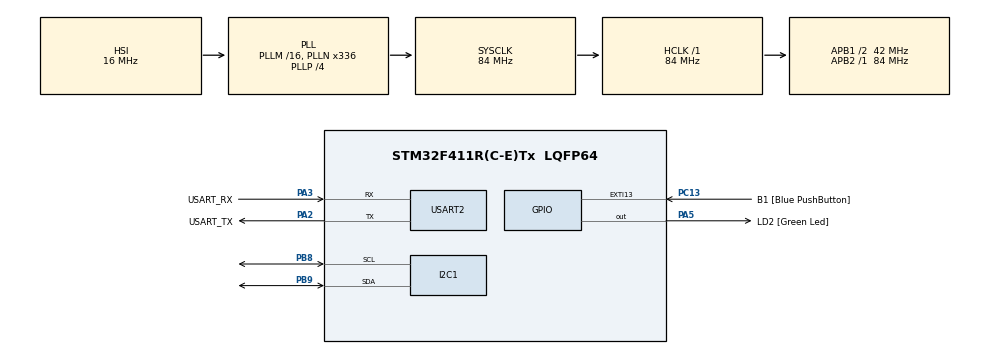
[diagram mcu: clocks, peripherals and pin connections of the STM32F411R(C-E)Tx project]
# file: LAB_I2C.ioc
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I2C1.I2C_Mode=I2C_Fast
Mcu.Family=STM32F4
Mcu.Name=STM32F411R(C-E)Tx
Mcu.Package=LQFP64
NVIC.I2C1_ER_IRQn=true\:0\:0\:false\:false\:true\:true\:true
NVIC.I2C1_EV_IRQn=true\:0\:0\:false\:false\:true\:true\:true
NVIC.PriorityGroup=NVIC_PRIORITYGROUP_0
PA13.GPIO_Label=TMS
PA13.Mode=Serial_Wire
PA13.Signal=SYS_JTMS-SWDIO
PA14.GPIO_Label=TCK
PA14.Mode=Serial_Wire
PA14.Signal=SYS_JTCK-SWCLK
PA2.GPIO_Label=USART_TX
PA2.Mode=Asynchronous
PA2.Signal=USART2_TX
PA3.GPIO_Label=USART_RX
PA3.Mode=Asynchronous
PA3.Signal=USART2_RX
PA5.GPIO_Label=LD2 [Green Led]
PA5.Signal=GPIO_Output
PB3.GPIO_Label=SWO
PB3.Signal=SYS_JTDO-SWO
PB8.Mode=I2C
PB8.Signal=I2C1_SCL
PB9.Mode=I2C
PB9.Signal=I2C1_SDA
PC13-ANTI_TAMP.GPIO_Label=B1 [Blue PushButton]
PC13-ANTI_TAMP.GPIO_ModeDefaultEXTI=GPIO_MODE_IT_FALLING
PC13-ANTI_TAMP.Signal=GPXTI13
PC14-OSC32_IN.Mode=LSE-External-Oscillator
PC14-OSC32_IN.Signal=RCC_OSC32_IN
PC15-OSC32_OUT.Mode=LSE-External-Oscillator
PC15-OSC32_OUT.Signal=RCC_OSC32_OUT
PH0\ -\ OSC_IN.Mode=HSE-External-Clock-Source
PH0\ -\ OSC_IN.Signal=RCC_OSC_IN
PH1\ -\ OSC_OUT.Mode=HSE-External-Clock-Source
PH1\ -\ OSC_OUT.Signal=RCC_OSC_OUT
ProjectManager.HeapSize=0x200
ProjectManager.StackSize=0x400
ProjectManager.TargetToolchain=STM32CubeIDE
RCC.48MHZClocksFreq_Value=84000000
RCC.AHBFreq_Value=84000000
RCC.APB1CLKDivider=RCC_HCLK_DIV2
RCC.APB1Freq_Value=42000000
RCC.APB1TimFreq_Value=84000000
RCC.APB2Freq_Value=84000000
RCC.APB2TimFreq_Value=84000000
RCC.CortexFreq_Value=84000000
RCC.FLatency-AdvancedSettings=FLASH_LATENCY_2
RCC.HCLKFreq_Value=84000000
RCC.HSE_VALUE=8000000
RCC.HSI_VALUE=16000000
RCC.PLLN=336
RCC.PLLP=RCC_PLLP_DIV4
RCC.SYSCLKFreq_VALUE=84000000
RCC.SYSCLKSource=RCC_SYSCLKSOURCE_PLLCLK
RCC.VCOOutputFreq_Value=336000000
USART2.VirtualMode=VM_ASYNC
board=NUCLEO-F411RE

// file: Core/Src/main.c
/* USER CODE BEGIN Header */
/**
 ******************************************************************************
 * @file           : main.c
 * @brief          : Main program body
 ******************************************************************************
 * @attention
 *
 * <h2><center>&copy; Copyright (c) 2021 STMicroelectronics.
 * All rights reserved.</center></h2>
 *
 * This software component is licensed by ST under BSD 3-Clause license,
 * the "License"; You may not use this file except in compliance with the
 * License. You may obtain a copy of the License at:
 *                        opensource.org/licenses/BSD-3-Clause
 *
 ******************************************************************************
 */
/* USER CODE END Header */
#include "main.h"

/* USER CODE BEGIN PD */
#define EEPROM_ADDR 0b10100000
#define IOEXPD_ADDR 0b01000000
/* USER CODE END PD */

I2C_HandleTypeDef hi2c1;

UART_HandleTypeDef huart2;

/* USER CODE BEGIN PV */

uint8_t eepromExampleWriteFlag = 0;
uint8_t eepromExampleReadFlag = 0;
uint8_t IOExpdrExampleWriteFlag = 0;
uint8_t IOExpdrExampleReadFlag = 0;
uint8_t eepromDataReadBack[1] ;
uint8_t IOExpdrDataReadBack;
uint8_t IOExpdrDataWrite = 0b11111111;

uint8_t sclk[2] = {0};
uint8_t ans = 0b0000;

/* USER CODE END PV */

void SystemClock_Config(void);
static void MX_GPIO_Init(void);
static void MX_USART2_UART_Init(void);
static void MX_I2C1_Init(void);
/* USER CODE BEGIN PFP */
void EEPROMWriteExample();
void EEPROMReadExample(uint8_t *Rdata, uint16_t len);

void IOExpenderInit();
void IOExpenderReadPinA(uint8_t *Rdata);
void IOExpenderWritePinB(uint8_t Wdata);

/* USER CODE END PFP */

int main(void)
{

  /* MCU Configuration--------------------------------------------------------*/

  /* Reset of all peripherals, Initializes the Flash interface and the Systick. */
  HAL_Init();

  /* Configure the system clock */
  SystemClock_Config();

  /* Initialize all configured peripherals */
  MX_GPIO_Init();
  MX_USART2_UART_Init();
  MX_I2C1_Init();
  /* USER CODE BEGIN 2 */
  HAL_Delay(100);
  IOExpenderInit();
  /* USER CODE END 2 */

  /* Infinite loop */
  /* USER CODE BEGIN WHILE */
	while (1) {

//		EEPROMWriteExample();
//		EEPROMReadExample(eepromDataReadBack, 4);
//
//		IOExpenderReadPinA(&IOExpdrDataReadBack);
//		IOExpenderWritePinB(IOExpdrDataWrite);

		sclk[0] = HAL_GPIO_ReadPin(GPIOC, GPIO_PIN_13);
				if(sclk[0] == 0 && sclk[1] == 1)
				{
					IOExpdrExampleReadFlag = 1;
					eepromExampleWriteFlag = 1;

					IOExpenderReadPinA(&IOExpdrDataReadBack);
					HAL_Delay(10);

					ans = ((IOExpdrDataReadBack & 0b1111 ));

					EEPROMWriteExample();

				}

				sclk[1] = sclk[0];

				eepromExampleReadFlag = 1;
				EEPROMReadExample(eepromDataReadBack, 1);
				HAL_Delay(10);

				IOExpdrDataWrite = (eepromDataReadBack[0]);

				IOExpdrExampleWriteFlag = 1;
				IOExpenderWritePinB(IOExpdrDataWrite);
				HAL_Delay(10);

    /* USER CODE END WHILE */

	}
}

void SystemClock_Config(void)
{
  RCC_OscInitTypeDef RCC_OscInitStruct = {0};
  RCC_ClkInitTypeDef RCC_ClkInitStruct = {0};

  /** Configure the main internal regulator output voltage
  */
  __HAL_RCC_PWR_CLK_ENABLE();
  __HAL_PWR_VOLTAGESCALING_CONFIG(PWR_REGULATOR_VOLTAGE_SCALE1);
  /** Initializes the RCC Oscillators according to the specified parameters
  * in the RCC_OscInitTypeDef structure.
  */
  RCC_OscInitStruct.OscillatorType = RCC_OSCILLATORTYPE_HSI;
  RCC_OscInitStruct.HSIState = RCC_HSI_ON;
  RCC_OscInitStruct.HSICalibrationValue = RCC_HSICALIBRATION_DEFAULT;
  RCC_OscInitStruct.PLL.PLLState = RCC_PLL_ON;
  RCC_OscInitStruct.PLL.PLLSource = RCC_PLLSOURCE_HSI;
  RCC_OscInitStruct.PLL.PLLM = 16;
  RCC_OscInitStruct.PLL.PLLN = 336;
  RCC_OscInitStruct.PLL.PLLP = RCC_PLLP_DIV4;
  RCC_OscInitStruct.PLL.PLLQ = 4;
  if (HAL_RCC_OscConfig(&RCC_OscInitStruct) != HAL_OK)
  {
    Error_Handler();
  }
  /** Initializes the CPU, AHB and APB buses clocks
  */
  RCC_ClkInitStruct.ClockType = RCC_CLOCKTYPE_HCLK|RCC_CLOCKTYPE_SYSCLK
                              |RCC_CLOCKTYPE_PCLK1|RCC_CLOCKTYPE_PCLK2;
  RCC_ClkInitStruct.SYSCLKSource = RCC_SYSCLKSOURCE_PLLCLK;
  RCC_ClkInitStruct.AHBCLKDivider = RCC_SYSCLK_DIV1;
  RCC_ClkInitStruct.APB1CLKDivider = RCC_HCLK_DIV2;
  RCC_ClkInitStruct.APB2CLKDivider = RCC_HCLK_DIV1;

  if (HAL_RCC_ClockConfig(&RCC_ClkInitStruct, FLASH_LATENCY_2) != HAL_OK)
  {
    Error_Handler();
  }
}

static void MX_I2C1_Init(void)
{

  hi2c1.Instance = I2C1;
  hi2c1.Init.ClockSpeed = 400000;
  hi2c1.Init.DutyCycle = I2C_DUTYCYCLE_2;
  hi2c1.Init.OwnAddress1 = 0;
  hi2c1.Init.AddressingMode = I2C_ADDRESSINGMODE_7BIT;
  hi2c1.Init.DualAddressMode = I2C_DUALADDRESS_DISABLE;
  hi2c1.Init.OwnAddress2 = 0;
  hi2c1.Init.GeneralCallMode = I2C_GENERALCALL_DISABLE;
  hi2c1.Init.NoStretchMode = I2C_NOSTRETCH_DISABLE;
  if (HAL_I2C_Init(&hi2c1) != HAL_OK)
  {
    Error_Handler();
  }

}

static void MX_USART2_UART_Init(void)
{

  huart2.Instance = USART2;
  huart2.Init.BaudRate = 115200;
  huart2.Init.WordLength = UART_WORDLENGTH_8B;
  huart2.Init.StopBits = UART_STOPBITS_1;
  huart2.Init.Parity = UART_PARITY_NONE;
  huart2.Init.Mode = UART_MODE_TX_RX;
  huart2.Init.HwFlowCtl = UART_HWCONTROL_NONE;
  huart2.Init.OverSampling = UART_OVERSAMPLING_16;
  if (HAL_UART_Init(&huart2) != HAL_OK)
  {
    Error_Handler();
  }

}

static void MX_GPIO_Init(void)
{
  GPIO_InitTypeDef GPIO_InitStruct = {0};

  /* GPIO Ports Clock Enable */
  __HAL_RCC_GPIOC_CLK_ENABLE();
  __HAL_RCC_GPIOH_CLK_ENABLE();
  __HAL_RCC_GPIOA_CLK_ENABLE();
  __HAL_RCC_GPIOB_CLK_ENABLE();

  /*Configure GPIO pin Output Level */
  HAL_GPIO_WritePin(LD2_GPIO_Port, LD2_Pin, GPIO_PIN_RESET);

  /*Configure GPIO pin : B1_Pin */
  GPIO_InitStruct.Pin = B1_Pin;
  GPIO_InitStruct.Mode = GPIO_MODE_IT_FALLING;
  GPIO_InitStruct.Pull = GPIO_NOPULL;
  HAL_GPIO_Init(B1_GPIO_Port, &GPIO_InitStruct);

  /*Configure GPIO pin : LD2_Pin */
  GPIO_InitStruct.Pin = LD2_Pin;
  GPIO_InitStruct.Mode = GPIO_MODE_OUTPUT_PP;
  GPIO_InitStruct.Pull = GPIO_NOPULL;
  GPIO_InitStruct.Speed = GPIO_SPEED_FREQ_LOW;
  HAL_GPIO_Init(LD2_GPIO_Port, &GPIO_InitStruct);

}

/* USER CODE BEGIN 4 */
void EEPROMWriteExample() {
	if (eepromExampleWriteFlag && hi2c1.State == HAL_I2C_STATE_READY) {

		static uint8_t data[1] = {0b00000000};
		data[0] = ans ;
		HAL_I2C_Mem_Write_IT(&hi2c1, EEPROM_ADDR, 0x37, I2C_MEMADD_SIZE_16BIT,
				data, 1);

		eepromExampleWriteFlag = 0;
	}
}
void EEPROMReadExample(uint8_t *Rdata, uint16_t len) {
	if (eepromExampleReadFlag && hi2c1.State == HAL_I2C_STATE_READY) {

		HAL_I2C_Mem_Read_IT(&hi2c1, EEPROM_ADDR, 0x37, I2C_MEMADD_SIZE_16BIT,
				Rdata, len);
		eepromExampleReadFlag = 0;
	}
}
void IOExpenderInit() {
	//Init All
	static uint8_t Setting[0x16] = { 0xFF, 0x00, 0x00, 0x00, 0x00, 0x00, 0x00,
			0x00, 0x00, 0x00, 0x00, 0x00, 0xFF, 0x00, 0x00, 0x00, 0x00, 0x00,
			0x00, 0x00, 0x00, 0x00 };
	HAL_I2C_Mem_Write(&hi2c1, IOEXPD_ADDR, 0x00, I2C_MEMADD_SIZE_8BIT, Setting,
			0x16, 100);
}
void IOExpenderReadPinA(uint8_t *Rdata) {
	if (IOExpdrExampleReadFlag && hi2c1.State == HAL_I2C_STATE_READY) {
		HAL_I2C_Mem_Read_IT(&hi2c1, IOEXPD_ADDR, 0x12, I2C_MEMADD_SIZE_8BIT,
				Rdata, 1);
		IOExpdrExampleReadFlag =0;
	}
}
void IOExpenderWritePinB(uint8_t Wdata) {
	if (IOExpdrExampleWriteFlag && hi2c1.State == HAL_I2C_STATE_READY) {
		static uint8_t data;
		data = Wdata;
		HAL_I2C_Mem_Write_IT(&hi2c1, IOEXPD_ADDR, 0x15, I2C_MEMADD_SIZE_8BIT,
				&data, 1);
		IOExpdrExampleWriteFlag=0;
	}
}
/* USER CODE END 4 */

void Error_Handler(void)
{
	__disable_irq();
	while (1) {
	}
}

/************************ (C) COPYRIGHT STMicroelectronics *****END OF FILE****/
